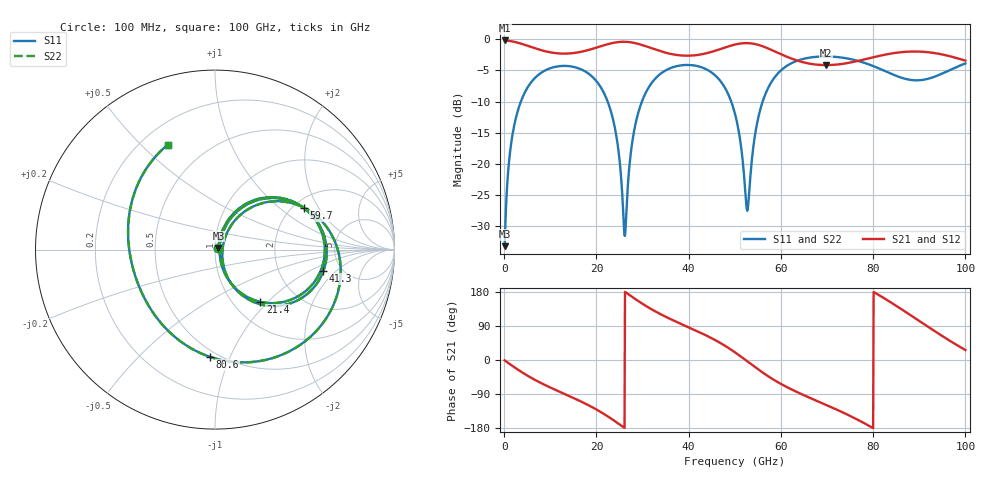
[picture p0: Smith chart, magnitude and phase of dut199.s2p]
! Touchstone file exported from HFSS 2026.1.0
!  File:  C:/ffzhzh/LocalFiles/Ansys_Project_Files/temp_train_TSV_RDL_199_1783658134_33328.aedt
!  Generated:  12:43:40 PM Jul 10, 2026
!  Design:  TSV_RDL
!  Project:  temp_train_TSV_RDL_199_1783658134_33328
! Variables:
!  h_bsmrdl = 2.58um
!  h_ox = 20um
!  h_rdl = 5um
!  h_sub = 63.52um
!  h_tmrdl = 3.39um
!  h_tsv = 63.52um
!  h_via = 3um
!  l_bsmrdl = 339.53um
!  l_sub = 2310.42um
!  l_tmrdl = 200.24um
!  m_sub = 200um
!  pitch = 48.7um
!  r_tsv = 8.63um
!  s_tmrdl = 10um
!  w_bsmrdl = 10.21um
!  w_sub = 500um
!  w_tmrdl = 20.08um
!  x_tsv_center1 = 210.28um
!  x_tsv_center2 = 560.02um
!  x_tsv_center3 = 780.34um
!  x_tsv_center4 = 1130.08um
!  x_tsv_center5 = 1350.4um
!  x_tsv_center6 = 1700.14um
# GHz S MA R 50.000000
! Terminal data exported
! Port[1] = TM_RDL1_1_T1
! Port[2] = TM_RDL5_1_T1
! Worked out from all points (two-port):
!   1000 points, 100 MHz to 100 GHz, reference 50 ohm
!   highest |S21| = -0.17 dB at 100 MHz (marker M1); lowest = -4.1 dB at 69.8 GHz (marker M2)
!   |S21| within 3 dB of the highest: start of sweep to 62.6 GHz; 78.39 GHz to 98.87 GHz (20.48 GHz wide, 23.1 % of centre)
!   lowest |S11| = -33.3 dB at 100 MHz (marker M3), VSWR 1.04, Z = 52 + j1.02 ohm
!   |S11| at or under -10 dB: start of sweep to 3.63 GHz; 22.44 GHz to 29.87 GHz (7.437 GHz wide, 28.4 % of centre); 49.22 GHz to 56.05 GHz (6.827 GHz wide, 13 % of centre)
!   |S22| runs from -33.3 to -2.7 dB; largest |S21 - S12| = 1.7e-14
!   S11 on the Smith chart (normalised r, x): 100 MHz: 1.04, +0.02; 21.4 GHz: 1.32, -0.90; 41.3 GHz: 3.63, -1.39; 59.7 GHz: 2.28, +1.52; 80.6 GHz: 0.45, -0.84; 100 GHz: 0.30, +0.60
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0.1  0.02163 26.9  0.9808 -0.9  0.9808 -0.9  0.02163 26.9
! Gamma 0 0 0 0
! Port Impedance 50 0 50 0
1.6  0.1524 67.5  0.9661 -14.0  0.9661 -14.0  0.1524 67.5
4.4  0.3687 49.8  0.9058 -36.5  0.9058 -36.5  0.3687 49.8
10.7  0.5969 11.7  0.7796 -76.5  0.7796 -76.5  0.5969 11.7
16.8  0.5716 -20.9  0.7966 -110.3  0.7966 -110.3  0.5716 -20.8
21.4  0.3848 -49.1  0.8916 -140.6  0.8916 -140.6  0.3849 -49.1
24.2  0.1777 -66.4  0.9458 -162.9  0.9458 -162.9  0.1777 -66.3
26.2  0.02619 8.0  0.9569 179.9  0.9569 179.9  0.02656 7.9
28.7  0.2268 61.2  0.9278 158.6  0.9278 158.6  0.2269 61.1
33.4  0.5099 31.3  0.8144 124.2  0.8144 124.2  0.51 31.3
41.3  0.6158 -11.2  0.7447 79.2  0.7447 79.2  0.6158 -11.2
46.4  0.4855 -39.8  0.8248 48.2  0.8248 48.2  0.4856 -39.9
50.1  0.2472 -62.5  0.91 19.8  0.91 19.8  0.2473 -62.6
52.7  0.04171 -5.9  0.9339 -3.3  0.9339 -3.3  0.04184 -6.0
55.4  0.2613 52.6  0.897 -27.6  0.897 -27.6  0.2612 52.6
59.7  0.5491 25.1  0.7693 -61.0  0.7693 -61.0  0.5491 25.0
66.7  0.7175 -13.5  0.6338 -102.1  0.6338 -102.1  0.7175 -13.5
69.8  0.7291 -29.1  0.621 -118.5  0.621 -118.5  0.729 -29.2
80.6  0.598 -92.8  0.7265 176.0  0.7265 176.0  0.5978 -92.9
83.4  0.539 -113.3  0.7639 155.3  0.7639 155.3  0.5389 -113.5
91.3  0.476 -178.2  0.7925 92.6  0.7925 92.6  0.4758 -178.3
100  0.6406 114.4  0.6749 26.4  0.6749 26.4  0.6404 114.3
